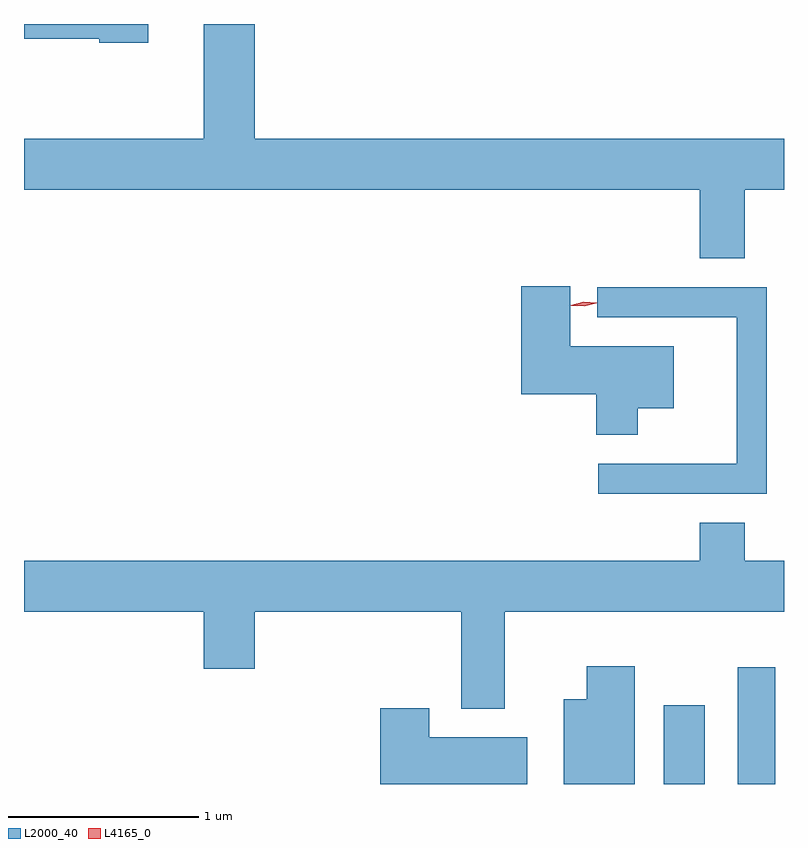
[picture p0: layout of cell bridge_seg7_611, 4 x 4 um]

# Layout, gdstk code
import gdstk
lib = gdstk.Library(unit=1e-6, precision=1e-09)
def R(c, l, rs):  # rectangles x0, y0, x1, y1
    for r in rs: c.add(gdstk.rectangle(r[:2], r[2:], *l))
def P(c, l, *ps):  # polygons
    for p in ps: c.add(gdstk.Polygon(p, *l))
L2000_40 = (2000, 40)
L4165_0 = (4165, 0)

bridge_seg7_611 = lib.new_cell('bridge_seg7_611')
R(bridge_seg7_611, L2000_40, [(756.956,1728.949,757.174,1729.364), (757.346,1728.949,757.544,1729.564)])
P(bridge_seg7_611, L2000_40, [(757.384,1732.076),(757.59,1732.076),(757.59,1732.344),(754.804,1732.344),(754.804,1732.949),(754.536,1732.949),(754.536,1732.344),(753.59,1732.344),(753.59,1732.076),(757.146,1732.076),(757.146,1731.716),(757.384,1731.716)],
  [(754.244,1732.949),(753.59,1732.949),(753.59,1732.871),(753.986,1732.871),(753.986,1732.851),(754.244,1732.851)],
  [(756.819,1730.926),(757.009,1730.926),(757.009,1731.254),(756.464,1731.254),(756.464,1731.569),(756.206,1731.569),(756.206,1731.001),(756.601,1731.001),(756.601,1730.786),(756.819,1730.786)],
  [(757.499,1731.564),(756.608,1731.564),(756.608,1731.406),(757.341,1731.406),(757.341,1730.634),(756.613,1730.634),(756.613,1730.476),(757.499,1730.476)],
  [(756.119,1729.856),(757.59,1729.856),(757.59,1730.124),(757.384,1730.124),(757.384,1730.324),(757.146,1730.324),(757.146,1730.124),(753.59,1730.124),(753.59,1729.856),(754.536,1729.856),(754.536,1729.556),(754.804,1729.556),(754.804,1729.856),(755.891,1729.856),(755.891,1729.346),(756.119,1729.346)],
  [(756.804,1729.569),(756.551,1729.569),(756.551,1729.394),(756.431,1729.394),(756.431,1728.949),(756.804,1728.949)],
  [(756.239,1729.194),(755.724,1729.194),(755.724,1729.349),(755.466,1729.349),(755.466,1728.949),(756.239,1728.949)])
P(bridge_seg7_611, L4165_0, [(756.538,1731.466),(756.468,1731.469),(756.468,1731.469),(756.468,1731.47),(756.536,1731.486),(756.605,1731.483),(756.606,1731.483),(756.605,1731.482)],
  [(756.538,1731.463),(756.471,1731.466),(756.471,1731.467),(756.471,1731.467),(756.536,1731.483),(756.602,1731.48),(756.603,1731.48),(756.602,1731.479)])

lib.write_gds('bridge_seg7_611.gds')
